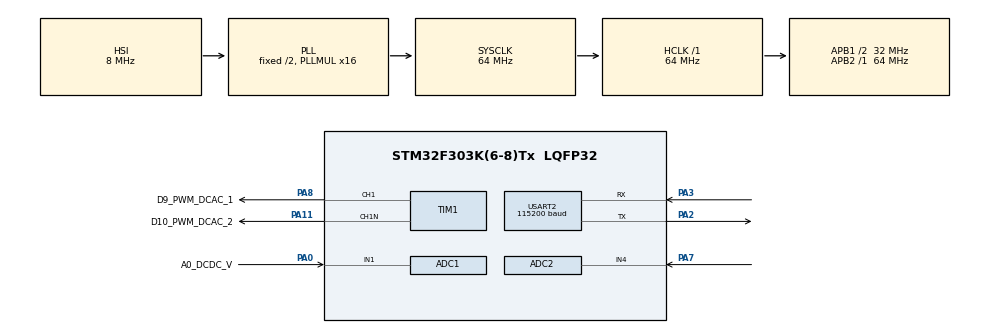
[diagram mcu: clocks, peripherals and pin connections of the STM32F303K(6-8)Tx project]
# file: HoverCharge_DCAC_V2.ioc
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ADC1.Channel-0\#ChannelRegularConversion=ADC_CHANNEL_1
ADC1.Channel-1\#ChannelRegularConversion=ADC_CHANNEL_1
ADC1.ClockPrescaler=ADC_CLOCK_SYNC_PCLK_DIV1
ADC1.DMAContinuousRequests=ENABLE
ADC1.ExternalTrigConv=ADC_EXTERNALTRIGCONV_T1_TRGO
ADC1.NbrOfConversion=2
ADC1.NbrOfConversionFlag=1
ADC1.Offset-0\#ChannelRegularConversion=0
ADC1.Offset-1\#ChannelRegularConversion=0
ADC1.OffsetNumber-0\#ChannelRegularConversion=ADC_OFFSET_NONE
ADC1.OffsetNumber-1\#ChannelRegularConversion=ADC_OFFSET_NONE
ADC1.Rank-0\#ChannelRegularConversion=1
ADC1.Rank-1\#ChannelRegularConversion=2
ADC1.SamplingTime-0\#ChannelRegularConversion=ADC_SAMPLETIME_1CYCLE_5
ADC1.SamplingTime-1\#ChannelRegularConversion=ADC_SAMPLETIME_1CYCLE_5
ADC1.SamplingTimeOPAMP-0\#ChannelRegularConversion=ADC_SAMPLETIME_61CYCLES_5
ADC1.SamplingTimeOPAMP-1\#ChannelRegularConversion=ADC_SAMPLETIME_61CYCLES_5
ADC1.SubFamily=STM32F303x8
ADC1.master=1
ADC2.Channel-1\#ChannelRegularConversion=ADC_CHANNEL_4
ADC2.Channel-2\#ChannelRegularConversion=ADC_CHANNEL_4
ADC2.ClockPrescaler=ADC_CLOCK_SYNC_PCLK_DIV1
ADC2.DMAContinuousRequests=ENABLE
ADC2.ExternalTrigConv=ADC_EXTERNALTRIGCONV_T1_TRGO
ADC2.NbrOfConversion=2
ADC2.NbrOfConversionFlag=1
ADC2.Offset-1\#ChannelRegularConversion=0
ADC2.Offset-2\#ChannelRegularConversion=0
ADC2.OffsetNumber-1\#ChannelRegularConversion=ADC_OFFSET_NONE
ADC2.OffsetNumber-2\#ChannelRegularConversion=ADC_OFFSET_NONE
ADC2.Rank-1\#ChannelRegularConversion=1
ADC2.Rank-2\#ChannelRegularConversion=2
ADC2.SamplingTime-1\#ChannelRegularConversion=ADC_SAMPLETIME_1CYCLE_5
ADC2.SamplingTime-2\#ChannelRegularConversion=ADC_SAMPLETIME_1CYCLE_5
ADC2.SamplingTimeOPAMP-1\#ChannelRegularConversion=ADC_SAMPLETIME_61CYCLES_5
ADC2.SamplingTimeOPAMP-2\#ChannelRegularConversion=ADC_SAMPLETIME_61CYCLES_5
ADC2.SubFamily=STM32F303x8
Dma.ADC1.1.Direction=DMA_PERIPH_TO_MEMORY
Dma.ADC1.1.Instance=DMA1_Channel1
Dma.ADC1.1.MemDataAlignment=DMA_MDATAALIGN_WORD
Dma.ADC1.1.MemInc=DMA_MINC_ENABLE
Dma.ADC1.1.Mode=DMA_CIRCULAR
Dma.ADC1.1.PeriphDataAlignment=DMA_PDATAALIGN_WORD
Dma.ADC1.1.PeriphInc=DMA_PINC_DISABLE
Dma.ADC1.1.Priority=DMA_PRIORITY_LOW
Dma.ADC2.0.Direction=DMA_PERIPH_TO_MEMORY
Dma.ADC2.0.Instance=DMA1_Channel2
Dma.ADC2.0.MemDataAlignment=DMA_MDATAALIGN_WORD
Dma.ADC2.0.MemInc=DMA_MINC_ENABLE
Dma.ADC2.0.Mode=DMA_CIRCULAR
Dma.ADC2.0.PeriphDataAlignment=DMA_PDATAALIGN_WORD
Dma.ADC2.0.PeriphInc=DMA_PINC_DISABLE
Dma.ADC2.0.Priority=DMA_PRIORITY_LOW
Dma.Request0=ADC2
Dma.Request1=ADC1
Mcu.Family=STM32F3
Mcu.Name=STM32F303K(6-8)Tx
Mcu.Package=LQFP32
NVIC.DMA1_Channel1_IRQn=true\:0\:0\:false\:false\:true\:false\:true\:true
NVIC.DMA1_Channel2_IRQn=true\:0\:0\:false\:false\:true\:false\:true\:true
NVIC.PriorityGroup=NVIC_PRIORITYGROUP_4
PA0.GPIO_Label=A0_DCDC_V
PA0.Mode=IN1-Single-Ended
PA0.Signal=ADC1_IN1
PA11.GPIO_Label=D10_PWM_DCAC_2
PA11.Mode=PWM Generation1 CH1 CH1N
PA11.Signal=TIM1_CH1N
PA2.Mode=Asynchronous
PA2.Signal=USART2_TX
PA3.Mode=Asynchronous
PA3.Signal=USART2_RX
PA7.Mode=IN4-Single-Ended
PA7.Signal=ADC2_IN4
PA8.GPIO_Label=D9_PWM_DCAC_1
PA8.Signal=S_TIM1_CH1
ProjectManager.HeapSize=0x200
ProjectManager.StackSize=0x400
ProjectManager.TargetToolchain=STM32CubeIDE
RCC.AHBFreq_Value=64000000
RCC.APB1CLKDivider=RCC_HCLK_DIV2
RCC.APB1Freq_Value=32000000
RCC.APB1TimFreq_Value=64000000
RCC.APB2Freq_Value=64000000
RCC.APB2TimFreq_Value=64000000
RCC.CortexFreq_Value=64000000
RCC.HCLKFreq_Value=64000000
RCC.HSE_VALUE=8000000
RCC.HSI_VALUE=8000000
RCC.PLLMUL=RCC_PLL_MUL16
RCC.SYSCLKFreq_VALUE=64000000
RCC.SYSCLKSourceVirtual=RCC_SYSCLKSOURCE_PLLCLK
SH.S_TIM1_CH1.0=TIM1_CH1,PWM Generation1 CH1 CH1N
TIM1.Channel-PWM\ Generation1\ CH1\ CH1N=TIM_CHANNEL_1
TIM1.CounterMode=TIM_COUNTERMODE_CENTERALIGNED1
TIM1.DeadTime=8
TIM1.OCNPolarity_1=TIM_OCNPOLARITY_HIGH
TIM1.OCPolarity_1=TIM_OCPOLARITY_HIGH
TIM1.RepetitionCounter=1
TIM1.TIM_MasterOutputTrigger=TIM_TRGO_UPDATE
USART2.BaudRate=115200
USART2.VirtualMode-Asynchronous=VM_ASYNC
VP_TIM1_VS_ClockSourceINT.Mode=Internal
board=custom

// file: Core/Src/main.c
/* USER CODE BEGIN Header */
/**
  ******************************************************************************
  * @file           : main.c
  * @brief          : Main program body
  ******************************************************************************
  * @attention
  *
  * Copyright (c) 2024 STMicroelectronics.
  * All rights reserved.
  *
  * This software is licensed under terms that can be found in the LICENSE file
  * in the root directory of this software component.
  * If no LICENSE file comes with this software, it is provided AS-IS.
  *
  ******************************************************************************
  */
/* USER CODE END Header */
#include "main.h"

/* USER CODE BEGIN Includes */
#include "stdlib.h"
#include "stdio.h"
#include "string.h"
/* USER CODE END Includes */

ADC_HandleTypeDef hadc1;
ADC_HandleTypeDef hadc2;
DMA_HandleTypeDef hdma_adc1;
DMA_HandleTypeDef hdma_adc2;

TIM_HandleTypeDef htim1;

UART_HandleTypeDef huart2;

/* USER CODE BEGIN PV */
	//UART
	uint8_t TxStartMessage[] = "\r\n***** Group 1 - HoverCharge - 5XWF0 *****\r\n";

	//ADC
	uint32_t ADC1_Buff[1];
	uint32_t ADC2_Buff[1];

	uint32_t adc_val_4;
	float I_DCDC_OUT=0.0f;
	float Factor_ADC_I_IN= (3.3f/4095.0f);

	uint32_t adc_val_1;
	float V_DCDC_OUT=0.0f;
	float Factor_ADC_V_IN = 21.1f*(3.3f/4095.0f);

	//PWM
	uint32_t PWM_Freq = 100000;
	float PWM_DutyC = 50;
	int32_t PWM_Period;
	int32_t PWM_PulseWidth;
/* USER CODE END PV */

void SystemClock_Config(void);
static void MX_GPIO_Init(void);
static void MX_DMA_Init(void);
static void MX_TIM1_Init(void);
static void MX_USART2_UART_Init(void);
static void MX_ADC2_Init(void);
static void MX_ADC1_Init(void);

/* USER CODE BEGIN 0 */
#ifdef __GNUC__
	#define PUTCHAR_PROTOTYPE int __io_putchar(int ch)
#else
	#define PUTCHAR_PROTOTYPE int fputc(int ch, FILE *f)
#endif

PUTCHAR_PROTOTYPE
{
	HAL_UART_Transmit(&huart2, (uint8_t *)&ch, 1, 0xFFF);

	return ch;
}
/* USER CODE END 0 */

int main(void)
{

  /* MCU Configuration--------------------------------------------------------*/

  /* Reset of all peripherals, Initializes the Flash interface and the Systick. */
  HAL_Init();

  /* Configure the system clock */
  SystemClock_Config();

  /* Initialize all configured peripherals */
  MX_GPIO_Init();
  MX_DMA_Init();
  MX_TIM1_Init();
  MX_USART2_UART_Init();
  MX_ADC2_Init();
  MX_ADC1_Init();
  /* USER CODE BEGIN 2 */
	 PWM_Period = 64000000/(2*PWM_Freq)-1;
  PWM_PulseWidth = (int)((PWM_Period*PWM_DutyC)/100);

  	  	   __HAL_TIM_SET_AUTORELOAD(&htim1, PWM_Period);					//Timer 1 config

 	        __HAL_TIM_SET_COMPARE(&htim1, TIM_CHANNEL_1, PWM_PulseWidth);	//Tim1 Channel 1 config
 	        HAL_TIM_PWM_Start(&htim1, TIM_CHANNEL_1);
 	        HAL_TIMEx_PWMN_Start(&htim1, TIM_CHANNEL_1);

  	       HAL_ADCEx_Calibration_Start(&hadc1, ADC_SINGLE_ENDED);				//ADC1 config
  	       HAL_ADC_Start_DMA(&hadc1, (uint32_t*)ADC1_Buff, 1);

 	       HAL_ADCEx_Calibration_Start(&hadc2, ADC_SINGLE_ENDED);				//ADC1 config
 	       HAL_ADC_Start_DMA(&hadc2, (uint32_t*)ADC2_Buff, 1);

  /* USER CODE END 2 */

  /* Infinite loop */
  /* USER CODE BEGIN WHILE */
  while (1)
  {
	    // PWM_PulseWidth = (int)((PWM_Period*PWM_DutyC)/100);

		// __HAL_TIM_SET_COMPARE (&htim1, TIM_CHANNEL_1, PWM_PulseWidth);

		 printf("\r\n I_DCDC_OUT= %.2f A  |V_DCDC_OUT= %.2f V |  Duty Cycle: %.2f", I_DCDC_OUT, V_DCDC_OUT, PWM_DutyC);
		 HAL_Delay(100);

    /* USER CODE END WHILE */

  }
}

void SystemClock_Config(void)
{
  RCC_OscInitTypeDef RCC_OscInitStruct = {0};
  RCC_ClkInitTypeDef RCC_ClkInitStruct = {0};
  RCC_PeriphCLKInitTypeDef PeriphClkInit = {0};

  /** Initializes the RCC Oscillators according to the specified parameters
  * in the RCC_OscInitTypeDef structure.
  */
  RCC_OscInitStruct.OscillatorType = RCC_OSCILLATORTYPE_HSI;
  RCC_OscInitStruct.HSIState = RCC_HSI_ON;
  RCC_OscInitStruct.HSICalibrationValue = RCC_HSICALIBRATION_DEFAULT;
  RCC_OscInitStruct.PLL.PLLState = RCC_PLL_ON;
  RCC_OscInitStruct.PLL.PLLSource = RCC_PLLSOURCE_HSI;
  RCC_OscInitStruct.PLL.PLLMUL = RCC_PLL_MUL16;
  if (HAL_RCC_OscConfig(&RCC_OscInitStruct) != HAL_OK)
  {
    Error_Handler();
  }

  /** Initializes the CPU, AHB and APB buses clocks
  */
  RCC_ClkInitStruct.ClockType = RCC_CLOCKTYPE_HCLK|RCC_CLOCKTYPE_SYSCLK
                              |RCC_CLOCKTYPE_PCLK1|RCC_CLOCKTYPE_PCLK2;
  RCC_ClkInitStruct.SYSCLKSource = RCC_SYSCLKSOURCE_PLLCLK;
  RCC_ClkInitStruct.AHBCLKDivider = RCC_SYSCLK_DIV1;
  RCC_ClkInitStruct.APB1CLKDivider = RCC_HCLK_DIV2;
  RCC_ClkInitStruct.APB2CLKDivider = RCC_HCLK_DIV1;

  if (HAL_RCC_ClockConfig(&RCC_ClkInitStruct, FLASH_LATENCY_2) != HAL_OK)
  {
    Error_Handler();
  }
  PeriphClkInit.PeriphClockSelection = RCC_PERIPHCLK_TIM1;
  PeriphClkInit.Tim1ClockSelection = RCC_TIM1CLK_HCLK;
  if (HAL_RCCEx_PeriphCLKConfig(&PeriphClkInit) != HAL_OK)
  {
    Error_Handler();
  }
}

static void MX_ADC1_Init(void)
{

  ADC_MultiModeTypeDef multimode = {0};
  ADC_ChannelConfTypeDef sConfig = {0};

  /** Common config
  */
  hadc1.Instance = ADC1;
  hadc1.Init.ClockPrescaler = ADC_CLOCK_SYNC_PCLK_DIV1;
  hadc1.Init.Resolution = ADC_RESOLUTION_12B;
  hadc1.Init.ScanConvMode = ADC_SCAN_ENABLE;
  hadc1.Init.ContinuousConvMode = DISABLE;
  hadc1.Init.DiscontinuousConvMode = DISABLE;
  hadc1.Init.ExternalTrigConvEdge = ADC_EXTERNALTRIGCONVEDGE_RISING;
  hadc1.Init.ExternalTrigConv = ADC_EXTERNALTRIGCONV_T1_TRGO;
  hadc1.Init.DataAlign = ADC_DATAALIGN_RIGHT;
  hadc1.Init.NbrOfConversion = 2;
  hadc1.Init.DMAContinuousRequests = ENABLE;
  hadc1.Init.EOCSelection = ADC_EOC_SINGLE_CONV;
  hadc1.Init.LowPowerAutoWait = DISABLE;
  hadc1.Init.Overrun = ADC_OVR_DATA_OVERWRITTEN;
  if (HAL_ADC_Init(&hadc1) != HAL_OK)
  {
    Error_Handler();
  }

  /** Configure the ADC multi-mode
  */
  multimode.Mode = ADC_MODE_INDEPENDENT;
  if (HAL_ADCEx_MultiModeConfigChannel(&hadc1, &multimode) != HAL_OK)
  {
    Error_Handler();
  }

  /** Configure Regular Channel
  */
  sConfig.Channel = ADC_CHANNEL_1;
  sConfig.Rank = ADC_REGULAR_RANK_1;
  sConfig.SingleDiff = ADC_SINGLE_ENDED;
  sConfig.SamplingTime = ADC_SAMPLETIME_1CYCLE_5;
  sConfig.OffsetNumber = ADC_OFFSET_NONE;
  sConfig.Offset = 0;
  if (HAL_ADC_ConfigChannel(&hadc1, &sConfig) != HAL_OK)
  {
    Error_Handler();
  }

  /** Configure Regular Channel
  */
  sConfig.Rank = ADC_REGULAR_RANK_2;
  if (HAL_ADC_ConfigChannel(&hadc1, &sConfig) != HAL_OK)
  {
    Error_Handler();
  }

}

static void MX_ADC2_Init(void)
{

  ADC_ChannelConfTypeDef sConfig = {0};

  /** Common config
  */
  hadc2.Instance = ADC2;
  hadc2.Init.ClockPrescaler = ADC_CLOCK_SYNC_PCLK_DIV1;
  hadc2.Init.Resolution = ADC_RESOLUTION_12B;
  hadc2.Init.ScanConvMode = ADC_SCAN_ENABLE;
  hadc2.Init.ContinuousConvMode = DISABLE;
  hadc2.Init.DiscontinuousConvMode = DISABLE;
  hadc2.Init.ExternalTrigConvEdge = ADC_EXTERNALTRIGCONVEDGE_RISING;
  hadc2.Init.ExternalTrigConv = ADC_EXTERNALTRIGCONV_T1_TRGO;
  hadc2.Init.DataAlign = ADC_DATAALIGN_RIGHT;
  hadc2.Init.NbrOfConversion = 2;
  hadc2.Init.DMAContinuousRequests = ENABLE;
  hadc2.Init.EOCSelection = ADC_EOC_SINGLE_CONV;
  hadc2.Init.LowPowerAutoWait = DISABLE;
  hadc2.Init.Overrun = ADC_OVR_DATA_OVERWRITTEN;
  if (HAL_ADC_Init(&hadc2) != HAL_OK)
  {
    Error_Handler();
  }

  /** Configure Regular Channel
  */
  sConfig.Channel = ADC_CHANNEL_4;
  sConfig.Rank = ADC_REGULAR_RANK_1;
  sConfig.SingleDiff = ADC_SINGLE_ENDED;
  sConfig.SamplingTime = ADC_SAMPLETIME_1CYCLE_5;
  sConfig.OffsetNumber = ADC_OFFSET_NONE;
  sConfig.Offset = 0;
  if (HAL_ADC_ConfigChannel(&hadc2, &sConfig) != HAL_OK)
  {
    Error_Handler();
  }

  /** Configure Regular Channel
  */
  sConfig.Rank = ADC_REGULAR_RANK_2;
  if (HAL_ADC_ConfigChannel(&hadc2, &sConfig) != HAL_OK)
  {
    Error_Handler();
  }

}

static void MX_TIM1_Init(void)
{

  TIM_ClockConfigTypeDef sClockSourceConfig = {0};
  TIM_MasterConfigTypeDef sMasterConfig = {0};
  TIM_OC_InitTypeDef sConfigOC = {0};
  TIM_BreakDeadTimeConfigTypeDef sBreakDeadTimeConfig = {0};

  htim1.Instance = TIM1;
  htim1.Init.Prescaler = 0;
  htim1.Init.CounterMode = TIM_COUNTERMODE_CENTERALIGNED1;
  htim1.Init.Period = 65535;
  htim1.Init.ClockDivision = TIM_CLOCKDIVISION_DIV1;
  htim1.Init.RepetitionCounter = 1;
  htim1.Init.AutoReloadPreload = TIM_AUTORELOAD_PRELOAD_DISABLE;
  if (HAL_TIM_Base_Init(&htim1) != HAL_OK)
  {
    Error_Handler();
  }
  sClockSourceConfig.ClockSource = TIM_CLOCKSOURCE_INTERNAL;
  if (HAL_TIM_ConfigClockSource(&htim1, &sClockSourceConfig) != HAL_OK)
  {
    Error_Handler();
  }
  if (HAL_TIM_PWM_Init(&htim1) != HAL_OK)
  {
    Error_Handler();
  }
  sMasterConfig.MasterOutputTrigger = TIM_TRGO_UPDATE;
  sMasterConfig.MasterOutputTrigger2 = TIM_TRGO2_RESET;
  sMasterConfig.MasterSlaveMode = TIM_MASTERSLAVEMODE_DISABLE;
  if (HAL_TIMEx_MasterConfigSynchronization(&htim1, &sMasterConfig) != HAL_OK)
  {
    Error_Handler();
  }
  sConfigOC.OCMode = TIM_OCMODE_PWM1;
  sConfigOC.Pulse = 0;
  sConfigOC.OCPolarity = TIM_OCPOLARITY_HIGH;
  sConfigOC.OCNPolarity = TIM_OCNPOLARITY_HIGH;
  sConfigOC.OCFastMode = TIM_OCFAST_DISABLE;
  sConfigOC.OCIdleState = TIM_OCIDLESTATE_RESET;
  sConfigOC.OCNIdleState = TIM_OCNIDLESTATE_RESET;
  if (HAL_TIM_PWM_ConfigChannel(&htim1, &sConfigOC, TIM_CHANNEL_1) != HAL_OK)
  {
    Error_Handler();
  }
  sBreakDeadTimeConfig.OffStateRunMode = TIM_OSSR_DISABLE;
  sBreakDeadTimeConfig.OffStateIDLEMode = TIM_OSSI_DISABLE;
  sBreakDeadTimeConfig.LockLevel = TIM_LOCKLEVEL_OFF;
  sBreakDeadTimeConfig.DeadTime = 8;
  sBreakDeadTimeConfig.BreakState = TIM_BREAK_DISABLE;
  sBreakDeadTimeConfig.BreakPolarity = TIM_BREAKPOLARITY_HIGH;
  sBreakDeadTimeConfig.BreakFilter = 0;
  sBreakDeadTimeConfig.Break2State = TIM_BREAK2_DISABLE;
  sBreakDeadTimeConfig.Break2Polarity = TIM_BREAK2POLARITY_HIGH;
  sBreakDeadTimeConfig.Break2Filter = 0;
  sBreakDeadTimeConfig.AutomaticOutput = TIM_AUTOMATICOUTPUT_DISABLE;
  if (HAL_TIMEx_ConfigBreakDeadTime(&htim1, &sBreakDeadTimeConfig) != HAL_OK)
  {
    Error_Handler();
  }
  HAL_TIM_MspPostInit(&htim1);

}

static void MX_USART2_UART_Init(void)
{

  huart2.Instance = USART2;
  huart2.Init.BaudRate = 115200;
  huart2.Init.WordLength = UART_WORDLENGTH_8B;
  huart2.Init.StopBits = UART_STOPBITS_1;
  huart2.Init.Parity = UART_PARITY_NONE;
  huart2.Init.Mode = UART_MODE_TX_RX;
  huart2.Init.HwFlowCtl = UART_HWCONTROL_NONE;
  huart2.Init.OverSampling = UART_OVERSAMPLING_16;
  huart2.Init.OneBitSampling = UART_ONE_BIT_SAMPLE_DISABLE;
  huart2.AdvancedInit.AdvFeatureInit = UART_ADVFEATURE_NO_INIT;
  if (HAL_UART_Init(&huart2) != HAL_OK)
  {
    Error_Handler();
  }

}

static void MX_DMA_Init(void)
{

  /* DMA controller clock enable */
  __HAL_RCC_DMA1_CLK_ENABLE();

  /* DMA interrupt init */
  /* DMA1_Channel1_IRQn interrupt configuration */
  HAL_NVIC_SetPriority(DMA1_Channel1_IRQn, 0, 0);
  HAL_NVIC_EnableIRQ(DMA1_Channel1_IRQn);
  /* DMA1_Channel2_IRQn interrupt configuration */
  HAL_NVIC_SetPriority(DMA1_Channel2_IRQn, 0, 0);
  HAL_NVIC_EnableIRQ(DMA1_Channel2_IRQn);

}

static void MX_GPIO_Init(void)
{

  /* GPIO Ports Clock Enable */
  __HAL_RCC_GPIOA_CLK_ENABLE();

}

/* USER CODE BEGIN 4 */
void HAL_ADC_ConvCpltCallback(ADC_HandleTypeDef* hadc)
{
	UNUSED(hadc);

		adc_val_4 = ADC2_Buff[0];
		I_DCDC_OUT = (float)adc_val_4 * Factor_ADC_I_IN -1.6f;

		adc_val_1 = ADC1_Buff[0];
		V_DCDC_OUT = (float)adc_val_1 * Factor_ADC_V_IN;
}
/* USER CODE END 4 */

void Error_Handler(void)
{
  __disable_irq();
  while (1)
  {
  }
}
